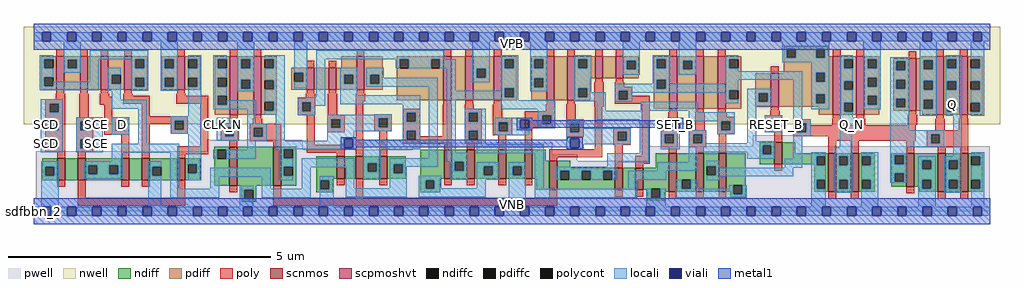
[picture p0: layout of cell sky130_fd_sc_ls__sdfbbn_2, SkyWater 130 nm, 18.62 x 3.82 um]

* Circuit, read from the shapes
.subckt sky130_fd_sc_ls__sdfbbn_2 CLK_N D RESET_B SCD SCE SET_B VGND VNB VPB VPWR Q Q_N
XM1 n1 SCD VGND VNB sky130_fd_pr__nfet_01v8 w=0.42 l=0.15
XM2 n2 SCE n1 VNB sky130_fd_pr__nfet_01v8 w=0.42 l=0.15
XM3 n3 D n2 VNB sky130_fd_pr__nfet_01v8 w=0.42 l=0.15
XM4 VGND n4 n3 VNB sky130_fd_pr__nfet_01v8 w=0.42 l=0.15
XM5 n4 SCE VGND VNB sky130_fd_pr__nfet_01v8 w=0.42 l=0.15
XM6 VGND CLK_N n5 VNB sky130_fd_pr__nfet_01v8 w=0.74 l=0.15
XM7 n6 n5 VGND VNB sky130_fd_pr__nfet_01v8 w=0.74 l=0.15
XM8 n7 n8 VGND VNB sky130_fd_pr__nfet_01v8 w=0.42 l=0.15
XM9 n9 n5 n7 VNB sky130_fd_pr__nfet_01v8 w=0.42 l=0.15
XM10 n2 n6 n9 VNB sky130_fd_pr__nfet_01v8 w=0.42 l=0.15
XM11 n8 n9 n10 VNB sky130_fd_pr__nfet_01v8 w=0.55 l=0.15
XM12 n10 n11 n8 VNB sky130_fd_pr__nfet_01v8 w=0.55 l=0.15
XM13 VGND SET_B n10 VNB sky130_fd_pr__nfet_01v8 w=0.55 l=0.15
XM14 n12 n8 VGND VNB sky130_fd_pr__nfet_01v8 w=0.55 l=0.15
XM15 n13 n5 n12 VNB sky130_fd_pr__nfet_01v8 w=0.55 l=0.15
XM16 n14 n6 n13 VNB sky130_fd_pr__nfet_01v8 w=0.42 l=0.15
XM17 VGND n15 n14 VNB sky130_fd_pr__nfet_01v8 w=0.42 l=0.15
XM18 n16 SET_B VGND VNB sky130_fd_pr__nfet_01v8 w=0.74 l=0.15
XM19 n15 n11 n16 VNB sky130_fd_pr__nfet_01v8 w=0.74 l=0.15
XM20 n16 n13 n15 VNB sky130_fd_pr__nfet_01v8 w=0.74 l=0.15
XM21 VGND RESET_B n11 VNB sky130_fd_pr__nfet_01v8 w=0.42 l=0.15
XM22 Q_N n15 VGND VNB sky130_fd_pr__nfet_01v8 w=0.74 l=0.15 m=2
XM23 VGND n15 n17 VNB sky130_fd_pr__nfet_01v8 w=0.64 l=0.15
XM24 Q n17 VGND VNB sky130_fd_pr__nfet_01v8 w=0.74 l=0.15 m=2
XM25 VPWR SCD n18 VPB sky130_fd_pr__pfet_01v8_hvt w=0.64 l=0.15
XM26 n19 SCE VPWR VPB sky130_fd_pr__pfet_01v8_hvt w=0.64 l=0.15
XM27 n2 D n19 VPB sky130_fd_pr__pfet_01v8_hvt w=0.64 l=0.15
XM28 n18 n4 n2 VPB sky130_fd_pr__pfet_01v8_hvt w=0.64 l=0.15
XM29 n4 SCE VPWR VPB sky130_fd_pr__pfet_01v8_hvt w=0.64 l=0.15
XM30 VPWR CLK_N n5 VPB sky130_fd_pr__pfet_01v8_hvt w=1.12 l=0.15
XM31 n6 n5 VPWR VPB sky130_fd_pr__pfet_01v8_hvt w=1.12 l=0.15
XM32 n20 n8 VPWR VPB sky130_fd_pr__pfet_01v8_hvt w=0.42 l=0.15
XM33 n9 n6 n20 VPB sky130_fd_pr__pfet_01v8_hvt w=0.42 l=0.15
XM34 n2 n5 n9 VPB sky130_fd_pr__pfet_01v8_hvt w=0.64 l=0.15
XM35 n21 n9 n8 VPB sky130_fd_pr__pfet_01v8_hvt w=0.84 l=0.15
XM36 VPWR n11 n21 VPB sky130_fd_pr__pfet_01v8_hvt w=0.84 l=0.15
XM37 n8 SET_B VPWR VPB sky130_fd_pr__pfet_01v8_hvt w=0.84 l=0.15
XM38 n22 n8 VPWR VPB sky130_fd_pr__pfet_01v8_hvt w=0.84 l=0.15
XM39 n13 n6 n22 VPB sky130_fd_pr__pfet_01v8_hvt w=0.84 l=0.15
XM40 n23 n5 n13 VPB sky130_fd_pr__pfet_01v8_hvt w=0.42 l=0.15
XM41 VPWR n15 n23 VPB sky130_fd_pr__pfet_01v8_hvt w=0.42 l=0.15
XM42 VPWR SET_B n15 VPB sky130_fd_pr__pfet_01v8_hvt w=1 l=0.15
XM43 n24 n11 VPWR VPB sky130_fd_pr__pfet_01v8_hvt w=1 l=0.15
XM44 n15 n13 n24 VPB sky130_fd_pr__pfet_01v8_hvt w=1 l=0.15
XM45 VPWR RESET_B n11 VPB sky130_fd_pr__pfet_01v8_hvt w=0.64 l=0.15
XM46 Q_N n15 VPWR VPB sky130_fd_pr__pfet_01v8_hvt w=1.12 l=0.15 m=2
XM47 VPWR n15 n17 VPB sky130_fd_pr__pfet_01v8_hvt w=1 l=0.15
XM48 Q n17 VPWR VPB sky130_fd_pr__pfet_01v8_hvt w=1.12 l=0.15 m=2
.ends

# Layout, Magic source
magic
tech sky130A
magscale 1 2
<< nwell >>
rect -38 332 3686 704
<< pwell >>
rect 662 235 1026 272
rect 1447 235 1978 261
rect 2743 248 2931 290
rect 662 229 1978 235
rect 6 218 1978 229
rect 6 192 2073 218
rect 2346 192 3647 248
rect 6 49 3647 192
rect 0 0 3648 49
<< scnmos >>
rect 89 119 119 203
rect 167 119 197 203
rect 333 119 363 203
rect 411 119 441 203
rect 547 119 577 203
rect 745 98 775 246
rect 913 98 943 246
rect 1155 125 1185 209
rect 1227 125 1257 209
rect 1318 125 1348 209
rect 1565 125 1595 235
rect 1651 125 1681 235
rect 1772 125 1802 235
rect 1872 125 1902 235
rect 1967 82 1997 192
rect 2217 82 2247 166
rect 2295 82 2325 166
rect 2422 74 2452 222
rect 2526 74 2556 222
rect 2612 74 2642 222
rect 2825 180 2855 264
rect 3031 74 3061 222
rect 3117 74 3147 222
rect 3329 94 3359 222
rect 3449 74 3479 222
rect 3535 74 3565 222
<< scpmoshvt >>
rect 86 464 116 592
rect 176 464 206 592
rect 254 464 284 592
rect 344 464 374 592
rect 546 464 576 592
rect 748 368 778 592
rect 838 368 868 592
rect 1040 464 1070 548
rect 1124 464 1154 548
rect 1231 464 1261 592
rect 1562 424 1592 592
rect 1646 424 1676 592
rect 1754 424 1784 592
rect 1956 424 1986 592
rect 2034 424 2064 592
rect 2141 508 2171 592
rect 2219 508 2249 592
rect 2424 392 2454 592
rect 2526 392 2556 592
rect 2610 392 2640 592
rect 2812 399 2842 527
rect 3048 368 3078 592
rect 3138 368 3168 592
rect 3337 384 3367 584
rect 3442 368 3472 592
rect 3532 368 3562 592
<< ndiff >>
rect 688 234 745 246
rect 32 170 89 203
rect 32 136 44 170
rect 78 136 89 170
rect 32 119 89 136
rect 119 119 167 203
rect 197 175 333 203
rect 197 141 208 175
rect 242 141 288 175
rect 322 141 333 175
rect 197 119 333 141
rect 363 119 411 203
rect 441 169 547 203
rect 441 135 452 169
rect 486 135 547 169
rect 441 119 547 135
rect 577 180 634 203
rect 577 146 588 180
rect 622 146 634 180
rect 577 119 634 146
rect 688 200 700 234
rect 734 200 745 234
rect 688 98 745 200
rect 775 98 913 246
rect 943 237 1000 246
rect 943 203 954 237
rect 988 203 1000 237
rect 943 169 1000 203
rect 943 135 954 169
rect 988 135 1000 169
rect 943 98 1000 135
rect 1078 125 1155 209
rect 1185 125 1227 209
rect 1257 184 1318 209
rect 1257 150 1273 184
rect 1307 150 1318 184
rect 1257 125 1318 150
rect 1348 179 1419 209
rect 1348 145 1373 179
rect 1407 145 1419 179
rect 1348 125 1419 145
rect 1473 125 1565 235
rect 1595 189 1651 235
rect 1595 155 1606 189
rect 1640 155 1651 189
rect 1595 125 1651 155
rect 1681 171 1772 235
rect 1681 137 1716 171
rect 1750 137 1772 171
rect 1681 125 1772 137
rect 1802 171 1872 235
rect 1802 137 1827 171
rect 1861 137 1872 171
rect 1802 125 1872 137
rect 1902 192 1952 235
rect 1902 125 1967 192
rect 1078 118 1140 125
rect 790 82 848 98
rect 790 48 802 82
rect 836 48 848 82
rect 790 36 848 48
rect 1078 84 1092 118
rect 1126 84 1140 118
rect 1078 72 1140 84
rect 1473 119 1550 125
rect 1473 85 1494 119
rect 1528 85 1550 119
rect 1473 73 1550 85
rect 1917 82 1967 125
rect 1997 166 2047 192
rect 2769 251 2825 264
rect 2372 166 2422 222
rect 1997 154 2217 166
rect 1997 120 2008 154
rect 2042 120 2090 154
rect 2124 120 2172 154
rect 2206 120 2217 154
rect 1997 82 2217 120
rect 2247 82 2295 166
rect 2325 86 2422 166
rect 2325 82 2356 86
rect 2340 52 2356 82
rect 2390 74 2422 86
rect 2452 120 2526 222
rect 2452 86 2472 120
rect 2506 86 2526 120
rect 2452 74 2526 86
rect 2556 172 2612 222
rect 2556 138 2567 172
rect 2601 138 2612 172
rect 2556 74 2612 138
rect 2642 99 2715 222
rect 2769 217 2780 251
rect 2814 217 2825 251
rect 2769 180 2825 217
rect 2855 222 2905 264
rect 2855 210 3031 222
rect 2855 180 2986 210
rect 2978 176 2986 180
rect 3020 176 3031 210
rect 2642 74 2669 99
rect 2390 52 2407 74
rect 2340 40 2407 52
rect 2657 65 2669 74
rect 2703 65 2715 99
rect 2978 120 3031 176
rect 2978 86 2986 120
rect 3020 86 3031 120
rect 2978 74 3031 86
rect 3061 210 3117 222
rect 3061 176 3072 210
rect 3106 176 3117 210
rect 3061 120 3117 176
rect 3061 86 3072 120
rect 3106 86 3117 120
rect 3061 74 3117 86
rect 3147 210 3209 222
rect 3147 176 3158 210
rect 3192 176 3209 210
rect 3147 120 3209 176
rect 3147 86 3158 120
rect 3192 86 3209 120
rect 3272 214 3329 222
rect 3272 180 3284 214
rect 3318 180 3329 214
rect 3272 146 3329 180
rect 3272 112 3284 146
rect 3318 112 3329 146
rect 3272 94 3329 112
rect 3359 194 3449 222
rect 3359 160 3390 194
rect 3424 160 3449 194
rect 3359 120 3449 160
rect 3359 94 3390 120
rect 3147 74 3209 86
rect 2657 53 2715 65
rect 3378 86 3390 94
rect 3424 86 3449 120
rect 3378 74 3449 86
rect 3479 194 3535 222
rect 3479 160 3490 194
rect 3524 160 3535 194
rect 3479 120 3535 160
rect 3479 86 3490 120
rect 3524 86 3535 120
rect 3479 74 3535 86
rect 3565 210 3621 222
rect 3565 176 3576 210
rect 3610 176 3621 210
rect 3565 120 3621 176
rect 3565 86 3576 120
rect 3610 86 3621 120
rect 3565 74 3621 86
<< pdiff >>
rect 2860 619 3030 631
rect 27 580 86 592
rect 27 546 39 580
rect 73 546 86 580
rect 27 511 86 546
rect 27 477 39 511
rect 73 477 86 511
rect 27 464 86 477
rect 116 579 176 592
rect 116 545 129 579
rect 163 545 176 579
rect 116 464 176 545
rect 206 464 254 592
rect 284 520 344 592
rect 284 486 297 520
rect 331 486 344 520
rect 284 464 344 486
rect 374 580 433 592
rect 374 546 387 580
rect 421 546 433 580
rect 374 510 433 546
rect 374 476 387 510
rect 421 476 433 510
rect 374 464 433 476
rect 487 580 546 592
rect 487 546 499 580
rect 533 546 546 580
rect 487 510 546 546
rect 487 476 499 510
rect 533 476 546 510
rect 487 464 546 476
rect 576 580 635 592
rect 576 546 589 580
rect 623 546 635 580
rect 576 510 635 546
rect 576 476 589 510
rect 623 476 635 510
rect 576 464 635 476
rect 689 580 748 592
rect 689 546 701 580
rect 735 546 748 580
rect 689 510 748 546
rect 689 476 701 510
rect 735 476 748 510
rect 689 440 748 476
rect 689 406 701 440
rect 735 406 748 440
rect 689 368 748 406
rect 778 580 838 592
rect 778 546 791 580
rect 825 546 838 580
rect 778 502 838 546
rect 778 468 791 502
rect 825 468 838 502
rect 778 368 838 468
rect 868 580 927 592
rect 868 546 881 580
rect 915 546 927 580
rect 1172 548 1231 592
rect 868 499 927 546
rect 868 465 881 499
rect 915 465 927 499
rect 868 418 927 465
rect 981 528 1040 548
rect 981 494 993 528
rect 1027 494 1040 528
rect 981 464 1040 494
rect 1070 464 1124 548
rect 1154 520 1231 548
rect 1154 486 1184 520
rect 1218 486 1231 520
rect 1154 464 1231 486
rect 1261 520 1330 592
rect 1261 486 1284 520
rect 1318 486 1330 520
rect 1261 464 1330 486
rect 1384 580 1562 592
rect 1384 546 1396 580
rect 1430 546 1515 580
rect 1549 546 1562 580
rect 868 384 881 418
rect 915 384 927 418
rect 868 368 927 384
rect 1384 424 1562 546
rect 1592 424 1646 592
rect 1676 543 1754 592
rect 1676 509 1689 543
rect 1723 509 1754 543
rect 1676 424 1754 509
rect 1784 580 1843 592
rect 1784 546 1797 580
rect 1831 546 1843 580
rect 1784 470 1843 546
rect 1784 436 1797 470
rect 1831 436 1843 470
rect 1784 424 1843 436
rect 1897 580 1956 592
rect 1897 546 1909 580
rect 1943 546 1956 580
rect 1897 508 1956 546
rect 1897 474 1909 508
rect 1943 474 1956 508
rect 1897 424 1956 474
rect 1986 424 2034 592
rect 2064 580 2141 592
rect 2064 546 2077 580
rect 2111 546 2141 580
rect 2064 508 2141 546
rect 2171 508 2219 592
rect 2249 575 2308 592
rect 2249 541 2262 575
rect 2296 541 2308 575
rect 2249 508 2308 541
rect 2365 580 2424 592
rect 2365 546 2377 580
rect 2411 546 2424 580
rect 2064 470 2123 508
rect 2365 502 2424 546
rect 2064 436 2077 470
rect 2111 436 2123 470
rect 2064 424 2123 436
rect 2365 468 2377 502
rect 2411 468 2424 502
rect 2365 392 2424 468
rect 2454 575 2526 592
rect 2454 541 2477 575
rect 2511 541 2526 575
rect 2454 392 2526 541
rect 2556 392 2610 592
rect 2640 580 2699 592
rect 2640 546 2653 580
rect 2687 546 2699 580
rect 2860 585 2872 619
rect 2906 585 2984 619
rect 3018 592 3030 619
rect 3018 585 3048 592
rect 2640 462 2699 546
rect 2860 529 3048 585
rect 2860 527 2984 529
rect 2640 428 2653 462
rect 2687 428 2699 462
rect 2640 392 2699 428
rect 2753 451 2812 527
rect 2753 417 2765 451
rect 2799 417 2812 451
rect 2753 399 2812 417
rect 2842 495 2984 527
rect 3018 495 3048 529
rect 2842 447 3048 495
rect 2842 413 2984 447
rect 3018 413 3048 447
rect 2842 399 3048 413
rect 2995 368 3048 399
rect 3078 580 3138 592
rect 3078 546 3091 580
rect 3125 546 3138 580
rect 3078 497 3138 546
rect 3078 463 3091 497
rect 3125 463 3138 497
rect 3078 414 3138 463
rect 3078 380 3091 414
rect 3125 380 3138 414
rect 3078 368 3138 380
rect 3168 580 3225 592
rect 3385 584 3442 592
rect 3168 546 3181 580
rect 3215 546 3225 580
rect 3168 510 3225 546
rect 3168 476 3181 510
rect 3215 476 3225 510
rect 3168 440 3225 476
rect 3168 406 3181 440
rect 3215 406 3225 440
rect 3168 368 3225 406
rect 3279 572 3337 584
rect 3279 538 3290 572
rect 3324 538 3337 572
rect 3279 501 3337 538
rect 3279 467 3290 501
rect 3324 467 3337 501
rect 3279 430 3337 467
rect 3279 396 3290 430
rect 3324 396 3337 430
rect 3279 384 3337 396
rect 3367 576 3442 584
rect 3367 542 3395 576
rect 3429 542 3442 576
rect 3367 498 3442 542
rect 3367 464 3395 498
rect 3429 464 3442 498
rect 3367 426 3442 464
rect 3367 392 3395 426
rect 3429 392 3442 426
rect 3367 384 3442 392
rect 3389 368 3442 384
rect 3472 580 3532 592
rect 3472 546 3485 580
rect 3519 546 3532 580
rect 3472 497 3532 546
rect 3472 463 3485 497
rect 3519 463 3532 497
rect 3472 414 3532 463
rect 3472 380 3485 414
rect 3519 380 3532 414
rect 3472 368 3532 380
rect 3562 580 3621 592
rect 3562 546 3575 580
rect 3609 546 3621 580
rect 3562 497 3621 546
rect 3562 463 3575 497
rect 3609 463 3621 497
rect 3562 414 3621 463
rect 3562 380 3575 414
rect 3609 380 3621 414
rect 3562 368 3621 380
<< ndiffc >>
rect 44 136 78 170
rect 208 141 242 175
rect 288 141 322 175
rect 452 135 486 169
rect 588 146 622 180
rect 700 200 734 234
rect 954 203 988 237
rect 954 135 988 169
rect 1273 150 1307 184
rect 1373 145 1407 179
rect 1606 155 1640 189
rect 1716 137 1750 171
rect 1827 137 1861 171
rect 802 48 836 82
rect 1092 84 1126 118
rect 1494 85 1528 119
rect 2008 120 2042 154
rect 2090 120 2124 154
rect 2172 120 2206 154
rect 2356 52 2390 86
rect 2472 86 2506 120
rect 2567 138 2601 172
rect 2780 217 2814 251
rect 2986 176 3020 210
rect 2669 65 2703 99
rect 2986 86 3020 120
rect 3072 176 3106 210
rect 3072 86 3106 120
rect 3158 176 3192 210
rect 3158 86 3192 120
rect 3284 180 3318 214
rect 3284 112 3318 146
rect 3390 160 3424 194
rect 3390 86 3424 120
rect 3490 160 3524 194
rect 3490 86 3524 120
rect 3576 176 3610 210
rect 3576 86 3610 120
<< pdiffc >>
rect 39 546 73 580
rect 39 477 73 511
rect 129 545 163 579
rect 297 486 331 520
rect 387 546 421 580
rect 387 476 421 510
rect 499 546 533 580
rect 499 476 533 510
rect 589 546 623 580
rect 589 476 623 510
rect 701 546 735 580
rect 701 476 735 510
rect 701 406 735 440
rect 791 546 825 580
rect 791 468 825 502
rect 881 546 915 580
rect 881 465 915 499
rect 993 494 1027 528
rect 1184 486 1218 520
rect 1284 486 1318 520
rect 1396 546 1430 580
rect 1515 546 1549 580
rect 881 384 915 418
rect 1689 509 1723 543
rect 1797 546 1831 580
rect 1797 436 1831 470
rect 1909 546 1943 580
rect 1909 474 1943 508
rect 2077 546 2111 580
rect 2262 541 2296 575
rect 2377 546 2411 580
rect 2077 436 2111 470
rect 2377 468 2411 502
rect 2477 541 2511 575
rect 2653 546 2687 580
rect 2872 585 2906 619
rect 2984 585 3018 619
rect 2653 428 2687 462
rect 2765 417 2799 451
rect 2984 495 3018 529
rect 2984 413 3018 447
rect 3091 546 3125 580
rect 3091 463 3125 497
rect 3091 380 3125 414
rect 3181 546 3215 580
rect 3181 476 3215 510
rect 3181 406 3215 440
rect 3290 538 3324 572
rect 3290 467 3324 501
rect 3290 396 3324 430
rect 3395 542 3429 576
rect 3395 464 3429 498
rect 3395 392 3429 426
rect 3485 546 3519 580
rect 3485 463 3519 497
rect 3485 380 3519 414
rect 3575 546 3609 580
rect 3575 463 3609 497
rect 3575 380 3609 414
<< poly >>
rect 86 592 116 618
rect 176 592 206 618
rect 254 592 284 618
rect 344 592 374 618
rect 546 592 576 618
rect 748 592 778 618
rect 838 592 868 618
rect 1231 592 1261 618
rect 1562 592 1592 618
rect 1646 592 1676 618
rect 1754 592 1784 618
rect 1956 592 1986 618
rect 2034 592 2064 618
rect 2141 592 2171 618
rect 2219 592 2249 618
rect 2424 592 2454 618
rect 2526 592 2556 618
rect 2610 592 2640 618
rect 86 449 116 464
rect 176 449 206 464
rect 254 449 284 464
rect 344 449 374 464
rect 546 449 576 464
rect 83 427 119 449
rect 44 411 119 427
rect 44 377 60 411
rect 94 377 119 411
rect 44 343 119 377
rect 173 359 209 449
rect 251 437 287 449
rect 341 440 377 449
rect 543 440 579 449
rect 251 407 299 437
rect 341 410 441 440
rect 543 410 665 440
rect 44 309 60 343
rect 94 309 119 343
rect 44 275 119 309
rect 44 241 60 275
rect 94 241 119 275
rect 44 225 119 241
rect 161 343 227 359
rect 161 309 177 343
rect 211 309 227 343
rect 161 275 227 309
rect 269 358 299 407
rect 411 362 441 410
rect 269 342 363 358
rect 269 308 313 342
rect 347 308 363 342
rect 269 292 363 308
rect 161 241 177 275
rect 211 241 227 275
rect 161 225 227 241
rect 89 203 119 225
rect 167 203 197 225
rect 333 203 363 292
rect 411 346 587 362
rect 411 332 537 346
rect 411 203 441 332
rect 521 312 537 332
rect 571 312 587 346
rect 521 296 587 312
rect 635 248 665 410
rect 1040 548 1070 574
rect 1124 548 1154 574
rect 1040 449 1070 464
rect 1124 449 1154 464
rect 1231 449 1261 464
rect 1037 432 1073 449
rect 1007 416 1073 432
rect 1007 382 1023 416
rect 1057 382 1073 416
rect 748 353 778 368
rect 838 353 868 368
rect 1007 366 1073 382
rect 1121 368 1157 449
rect 1227 419 1264 449
rect 2141 493 2171 508
rect 2219 493 2249 508
rect 745 336 781 353
rect 713 320 781 336
rect 835 334 871 353
rect 713 286 729 320
rect 763 286 781 320
rect 713 270 781 286
rect 823 318 943 334
rect 823 284 839 318
rect 873 284 943 318
rect 547 218 665 248
rect 745 246 775 270
rect 823 268 943 284
rect 913 246 943 268
rect 1041 254 1071 366
rect 1119 352 1185 368
rect 1119 318 1135 352
rect 1169 318 1185 352
rect 1119 302 1185 318
rect 547 203 577 218
rect 89 93 119 119
rect 167 51 197 119
rect 333 93 363 119
rect 411 93 441 119
rect 547 51 577 119
rect 1041 224 1185 254
rect 1155 209 1185 224
rect 1227 209 1257 419
rect 1562 409 1592 424
rect 1646 409 1676 424
rect 1754 409 1784 424
rect 1956 409 1986 424
rect 2034 409 2064 424
rect 1407 375 1473 391
rect 1299 355 1365 371
rect 1299 321 1315 355
rect 1349 321 1365 355
rect 1299 305 1365 321
rect 1407 341 1423 375
rect 1457 341 1473 375
rect 1407 307 1473 341
rect 1318 209 1348 305
rect 1407 273 1423 307
rect 1457 287 1473 307
rect 1559 287 1595 409
rect 1457 273 1595 287
rect 1407 257 1595 273
rect 1643 391 1679 409
rect 1643 375 1709 391
rect 1643 341 1659 375
rect 1693 341 1709 375
rect 1643 307 1709 341
rect 1643 273 1659 307
rect 1693 273 1709 307
rect 1751 356 1787 409
rect 1953 382 1989 409
rect 1872 366 1989 382
rect 1751 340 1824 356
rect 1751 306 1774 340
rect 1808 306 1824 340
rect 1751 290 1824 306
rect 1872 332 1939 366
rect 1973 332 1989 366
rect 1872 316 1989 332
rect 2031 351 2067 409
rect 2138 399 2174 493
rect 2216 476 2252 493
rect 2216 460 2282 476
rect 2216 426 2232 460
rect 2266 440 2282 460
rect 2266 426 2349 440
rect 2216 410 2349 426
rect 2031 335 2097 351
rect 1643 257 1709 273
rect 1565 235 1595 257
rect 1651 235 1681 257
rect 1772 235 1802 290
rect 1872 235 1902 316
rect 2031 301 2047 335
rect 2081 301 2097 335
rect 2031 285 2097 301
rect 2139 237 2169 399
rect 2211 303 2277 319
rect 2211 269 2227 303
rect 2261 269 2277 303
rect 2211 253 2277 269
rect 1967 207 2169 237
rect 1967 192 1997 207
rect 745 72 775 98
rect 167 21 577 51
rect 913 51 943 98
rect 1155 99 1185 125
rect 1227 51 1257 125
rect 1318 99 1348 125
rect 1565 99 1595 125
rect 1651 99 1681 125
rect 1772 99 1802 125
rect 1872 99 1902 125
rect 2217 166 2247 253
rect 2319 211 2349 410
rect 3048 592 3078 618
rect 3138 592 3168 618
rect 2812 527 2842 553
rect 2424 377 2454 392
rect 2526 377 2556 392
rect 2610 377 2640 392
rect 2812 384 2842 399
rect 2421 310 2457 377
rect 2523 310 2559 377
rect 2607 360 2643 377
rect 2809 367 2845 384
rect 3337 584 3367 610
rect 3442 592 3472 618
rect 3532 592 3562 618
rect 3337 369 3367 384
rect 2607 344 2673 360
rect 2607 310 2623 344
rect 2657 310 2673 344
rect 2391 294 2457 310
rect 2391 260 2407 294
rect 2441 260 2457 294
rect 2391 244 2457 260
rect 2499 294 2565 310
rect 2607 294 2673 310
rect 2789 351 2855 367
rect 3048 353 3078 368
rect 3138 353 3168 368
rect 2789 317 2805 351
rect 2839 317 2855 351
rect 2789 301 2855 317
rect 2499 260 2515 294
rect 2549 260 2565 294
rect 2499 244 2565 260
rect 2422 222 2452 244
rect 2526 222 2556 244
rect 2612 222 2642 294
rect 2825 264 2855 301
rect 2897 336 2963 352
rect 2897 302 2913 336
rect 2947 329 2963 336
rect 3045 329 3081 353
rect 3135 329 3171 353
rect 3334 330 3370 369
rect 3442 353 3472 368
rect 3532 353 3562 368
rect 3334 329 3365 330
rect 2947 302 3365 329
rect 3439 310 3475 353
rect 3529 310 3565 353
rect 2897 286 3365 302
rect 3031 270 3365 286
rect 3407 294 3565 310
rect 2295 181 2349 211
rect 2295 166 2325 181
rect 1967 51 1997 82
rect 2217 56 2247 82
rect 2295 56 2325 82
rect 913 21 1997 51
rect 3031 222 3061 270
rect 3117 222 3147 270
rect 3329 222 3359 270
rect 3407 260 3423 294
rect 3457 260 3565 294
rect 3407 244 3565 260
rect 3449 222 3479 244
rect 3535 222 3565 244
rect 2825 154 2855 180
rect 2422 48 2452 74
rect 2526 48 2556 74
rect 2612 48 2642 74
rect 3031 48 3061 74
rect 3117 48 3147 74
rect 3329 68 3359 94
rect 3449 48 3479 74
rect 3535 48 3565 74
<< polycont >>
rect 60 377 94 411
rect 60 309 94 343
rect 60 241 94 275
rect 177 309 211 343
rect 313 308 347 342
rect 177 241 211 275
rect 537 312 571 346
rect 1023 382 1057 416
rect 729 286 763 320
rect 839 284 873 318
rect 1135 318 1169 352
rect 1315 321 1349 355
rect 1423 341 1457 375
rect 1423 273 1457 307
rect 1659 341 1693 375
rect 1659 273 1693 307
rect 1774 306 1808 340
rect 1939 332 1973 366
rect 2232 426 2266 460
rect 2047 301 2081 335
rect 2227 269 2261 303
rect 2623 310 2657 344
rect 2407 260 2441 294
rect 2805 317 2839 351
rect 2515 260 2549 294
rect 2913 302 2947 336
rect 3423 260 3457 294
<< locali >>
rect 0 649 31 683
rect 65 649 127 683
rect 161 649 223 683
rect 257 649 319 683
rect 353 649 415 683
rect 449 649 511 683
rect 545 649 607 683
rect 641 649 703 683
rect 737 649 799 683
rect 833 649 895 683
rect 929 649 991 683
rect 1025 649 1087 683
rect 1121 649 1183 683
rect 1217 649 1279 683
rect 1313 649 1375 683
rect 1409 649 1471 683
rect 1505 649 1567 683
rect 1601 649 1663 683
rect 1697 649 1759 683
rect 1793 649 1855 683
rect 1889 649 1951 683
rect 1985 649 2047 683
rect 2081 649 2143 683
rect 2177 649 2239 683
rect 2273 649 2335 683
rect 2369 649 2431 683
rect 2465 649 2527 683
rect 2561 649 2623 683
rect 2657 649 2719 683
rect 2753 649 2815 683
rect 2849 649 2911 683
rect 2945 649 3007 683
rect 3041 649 3103 683
rect 3137 649 3199 683
rect 3233 649 3295 683
rect 3329 649 3391 683
rect 3425 649 3487 683
rect 3521 649 3583 683
rect 3617 649 3648 683
rect 23 580 73 596
rect 23 546 39 580
rect 23 511 73 546
rect 113 579 179 649
rect 113 545 129 579
rect 163 545 179 579
rect 113 529 179 545
rect 213 581 437 615
rect 23 477 39 511
rect 213 495 247 581
rect 371 580 437 581
rect 73 477 247 495
rect 23 461 247 477
rect 281 520 331 547
rect 281 486 297 520
rect 281 460 331 486
rect 371 546 387 580
rect 421 546 437 580
rect 371 510 437 546
rect 371 476 387 510
rect 421 476 437 510
rect 371 460 437 476
rect 483 580 549 649
rect 483 546 499 580
rect 533 546 549 580
rect 483 510 549 546
rect 483 476 499 510
rect 533 476 549 510
rect 483 460 549 476
rect 589 580 639 596
rect 623 546 639 580
rect 589 510 639 546
rect 623 476 639 510
rect 25 411 110 427
rect 25 377 60 411
rect 94 377 110 411
rect 297 426 331 460
rect 297 392 431 426
rect 25 343 110 377
rect 25 309 60 343
rect 94 309 110 343
rect 25 275 110 309
rect 25 241 60 275
rect 94 241 110 275
rect 25 225 110 241
rect 161 343 263 359
rect 161 309 177 343
rect 211 309 263 343
rect 161 275 263 309
rect 297 342 363 358
rect 297 308 313 342
rect 347 308 363 342
rect 297 292 363 308
rect 161 241 177 275
rect 211 241 263 275
rect 397 258 431 392
rect 589 362 639 476
rect 685 580 735 596
rect 685 546 701 580
rect 685 510 735 546
rect 685 476 701 510
rect 685 440 735 476
rect 775 580 841 649
rect 775 546 791 580
rect 825 546 841 580
rect 775 502 841 546
rect 775 468 791 502
rect 825 468 841 502
rect 775 458 841 468
rect 881 580 957 596
rect 915 546 957 580
rect 881 499 957 546
rect 915 465 957 499
rect 993 528 1043 649
rect 1027 494 1043 528
rect 993 470 1043 494
rect 1077 581 1565 615
rect 685 406 701 440
rect 735 406 847 424
rect 685 390 847 406
rect 521 346 639 362
rect 521 312 537 346
rect 571 312 639 346
rect 521 296 639 312
rect 161 225 263 241
rect 297 224 554 258
rect 297 191 338 224
rect 28 170 94 191
rect 28 136 44 170
rect 78 136 94 170
rect 28 17 94 136
rect 192 175 338 191
rect 192 141 208 175
rect 242 141 288 175
rect 322 141 338 175
rect 192 125 338 141
rect 436 169 486 190
rect 436 135 452 169
rect 436 17 486 135
rect 520 85 554 224
rect 588 180 639 296
rect 697 320 779 356
rect 697 286 729 320
rect 763 286 779 320
rect 697 270 779 286
rect 813 334 847 390
rect 881 418 957 465
rect 1077 436 1111 581
rect 1380 580 1565 581
rect 915 384 957 418
rect 881 368 957 384
rect 813 318 889 334
rect 813 284 839 318
rect 873 284 889 318
rect 813 268 889 284
rect 923 270 957 368
rect 1007 416 1111 436
rect 1007 382 1023 416
rect 1057 402 1111 416
rect 1168 520 1234 547
rect 1168 486 1184 520
rect 1218 486 1234 520
rect 1168 442 1234 486
rect 1268 520 1334 547
rect 1380 546 1396 580
rect 1430 546 1515 580
rect 1549 546 1609 580
rect 1268 486 1284 520
rect 1318 510 1334 520
rect 1318 486 1541 510
rect 1268 476 1541 486
rect 1168 408 1473 442
rect 1057 382 1073 402
rect 1007 366 1073 382
rect 1407 375 1473 408
rect 1299 368 1365 371
rect 1119 355 1365 368
rect 1119 352 1315 355
rect 1119 318 1135 352
rect 1169 321 1315 352
rect 1349 321 1365 355
rect 1169 318 1365 321
rect 1119 305 1365 318
rect 1407 341 1423 375
rect 1457 341 1473 375
rect 1407 307 1473 341
rect 1119 276 1223 305
rect 1119 270 1183 276
rect 813 234 847 268
rect 923 242 1183 270
rect 1217 242 1223 276
rect 1407 273 1423 307
rect 1457 273 1473 307
rect 1407 271 1473 273
rect 923 237 1223 242
rect 923 236 954 237
rect 684 200 700 234
rect 734 200 847 234
rect 938 203 954 236
rect 988 236 1223 237
rect 1257 237 1473 271
rect 622 146 639 180
rect 938 169 988 203
rect 588 119 639 146
rect 673 132 904 166
rect 673 85 707 132
rect 520 51 707 85
rect 786 82 836 98
rect 786 48 802 82
rect 870 85 904 132
rect 938 135 954 169
rect 938 119 988 135
rect 1022 168 1223 202
rect 1022 85 1056 168
rect 870 51 1056 85
rect 1090 118 1144 134
rect 1090 84 1092 118
rect 1126 84 1144 118
rect 786 17 836 48
rect 1090 17 1144 84
rect 1189 87 1223 168
rect 1257 184 1323 237
rect 1507 203 1541 476
rect 1257 150 1273 184
rect 1307 150 1323 184
rect 1257 121 1323 150
rect 1357 179 1541 203
rect 1575 459 1609 546
rect 1673 543 1739 649
rect 1673 509 1689 543
rect 1723 509 1739 543
rect 1673 493 1739 509
rect 1781 580 1847 596
rect 1781 546 1797 580
rect 1831 546 1847 580
rect 1781 470 1847 546
rect 1781 459 1797 470
rect 1575 436 1797 459
rect 1831 436 1847 470
rect 1893 580 1959 649
rect 1893 546 1909 580
rect 1943 546 1959 580
rect 1893 508 1959 546
rect 1893 474 1909 508
rect 1943 474 1959 508
rect 1893 458 1959 474
rect 2061 580 2127 596
rect 2061 546 2077 580
rect 2111 546 2127 580
rect 2061 470 2127 546
rect 2246 575 2312 649
rect 2246 541 2262 575
rect 2296 541 2312 575
rect 2246 520 2312 541
rect 2361 580 2427 596
rect 2361 546 2377 580
rect 2411 546 2427 580
rect 2361 502 2427 546
rect 2461 575 2527 649
rect 2856 619 3034 649
rect 2461 541 2477 575
rect 2511 541 2527 575
rect 2461 520 2527 541
rect 2637 580 2687 596
rect 2637 546 2653 580
rect 2856 585 2872 619
rect 2906 585 2984 619
rect 3018 585 3034 619
rect 2856 569 3034 585
rect 2637 535 2687 546
rect 2361 486 2377 502
rect 1575 425 1847 436
rect 1575 223 1609 425
rect 1781 424 1847 425
rect 2061 436 2077 470
rect 2111 454 2127 470
rect 2216 468 2377 486
rect 2411 486 2427 502
rect 2637 501 2931 535
rect 2637 486 2687 501
rect 2411 468 2687 486
rect 2216 462 2687 468
rect 2216 460 2653 462
rect 2111 436 2182 454
rect 1643 375 1724 391
rect 1781 390 1989 424
rect 2061 420 2182 436
rect 1643 341 1659 375
rect 1693 341 1724 375
rect 1923 366 1989 390
rect 1643 307 1724 341
rect 1643 273 1659 307
rect 1693 273 1724 307
rect 1758 350 1889 356
rect 1758 340 1855 350
rect 1758 306 1774 340
rect 1808 316 1855 340
rect 1923 332 1939 366
rect 1973 332 1989 366
rect 2148 384 2182 420
rect 2216 426 2232 460
rect 2266 452 2653 460
rect 2266 426 2282 452
rect 2216 418 2282 426
rect 2637 428 2653 452
rect 2316 384 2533 418
rect 2637 412 2687 428
rect 2721 451 2815 467
rect 2721 417 2765 451
rect 2799 417 2815 451
rect 1923 316 1989 332
rect 2031 335 2097 351
rect 2148 350 2350 384
rect 2499 378 2533 384
rect 2721 401 2815 417
rect 1808 306 1889 316
rect 1758 290 1889 306
rect 2031 301 2047 335
rect 2081 316 2097 335
rect 2081 303 2277 316
rect 2081 301 2227 303
rect 1643 257 1724 273
rect 1690 256 1724 257
rect 2031 276 2227 301
rect 1575 189 1656 223
rect 1690 222 1945 256
rect 2031 242 2047 276
rect 2081 269 2227 276
rect 2261 269 2277 303
rect 2081 256 2277 269
rect 2081 242 2097 256
rect 2031 236 2097 242
rect 2311 222 2345 350
rect 2391 316 2431 350
rect 2499 344 2673 378
rect 2391 294 2465 316
rect 2607 310 2623 344
rect 2657 310 2673 344
rect 2391 260 2407 294
rect 2441 260 2465 294
rect 2391 236 2465 260
rect 2499 294 2565 310
rect 2607 294 2673 310
rect 2499 260 2515 294
rect 2549 260 2565 294
rect 2721 267 2755 401
rect 2789 351 2855 367
rect 2789 317 2805 351
rect 2839 317 2855 351
rect 2789 301 2855 317
rect 2897 352 2931 501
rect 2965 529 3034 569
rect 2965 495 2984 529
rect 3018 495 3034 529
rect 2965 447 3034 495
rect 2965 413 2984 447
rect 3018 413 3034 447
rect 2965 390 3034 413
rect 3075 580 3125 596
rect 3075 546 3091 580
rect 3075 497 3125 546
rect 3075 463 3091 497
rect 3075 414 3125 463
rect 3075 380 3091 414
rect 3165 580 3231 649
rect 3165 546 3181 580
rect 3215 546 3231 580
rect 3165 510 3231 546
rect 3165 476 3181 510
rect 3215 476 3231 510
rect 3165 440 3231 476
rect 3165 406 3181 440
rect 3215 406 3231 440
rect 3165 390 3231 406
rect 3268 572 3340 588
rect 3268 538 3290 572
rect 3324 538 3340 572
rect 3268 501 3340 538
rect 3268 467 3290 501
rect 3324 467 3340 501
rect 3268 430 3340 467
rect 3268 396 3290 430
rect 3324 396 3340 430
rect 3075 356 3125 380
rect 2897 336 2963 352
rect 2897 302 2913 336
rect 2947 302 2963 336
rect 2897 286 2963 302
rect 3075 310 3143 356
rect 3268 310 3340 396
rect 3379 576 3445 649
rect 3379 542 3395 576
rect 3429 542 3445 576
rect 3379 498 3445 542
rect 3379 464 3395 498
rect 3429 464 3445 498
rect 3379 426 3445 464
rect 3379 392 3395 426
rect 3429 392 3445 426
rect 3379 364 3445 392
rect 3479 580 3541 596
rect 3479 546 3485 580
rect 3519 546 3541 580
rect 3479 497 3541 546
rect 3479 463 3485 497
rect 3519 463 3541 497
rect 3479 414 3541 463
rect 3479 380 3485 414
rect 3519 380 3541 414
rect 3479 364 3541 380
rect 3575 580 3625 649
rect 3609 546 3625 580
rect 3575 497 3625 546
rect 3609 463 3625 497
rect 3575 414 3625 463
rect 3609 380 3625 414
rect 3575 364 3625 380
rect 2721 260 2830 267
rect 2499 251 2830 260
rect 1357 145 1373 179
rect 1407 169 1541 179
rect 1407 145 1423 169
rect 1357 87 1423 145
rect 1590 155 1606 189
rect 1640 155 1656 189
rect 1189 53 1423 87
rect 1469 119 1554 135
rect 1590 121 1656 155
rect 1690 171 1777 187
rect 1690 137 1716 171
rect 1750 137 1777 171
rect 1690 121 1777 137
rect 1811 171 1877 188
rect 1811 137 1827 171
rect 1861 137 1877 171
rect 1469 85 1494 119
rect 1528 87 1554 119
rect 1690 87 1724 121
rect 1528 85 1724 87
rect 1469 53 1724 85
rect 1811 17 1877 137
rect 1911 86 1945 222
rect 2188 188 2345 222
rect 2499 226 2780 251
rect 2499 188 2533 226
rect 2721 217 2780 226
rect 2814 217 2830 251
rect 2721 201 2830 217
rect 2897 201 2931 286
rect 3075 244 3122 310
rect 2188 170 2222 188
rect 1992 154 2222 170
rect 2379 154 2533 188
rect 2567 172 2617 192
rect 1992 120 2008 154
rect 2042 120 2090 154
rect 2124 120 2172 154
rect 2206 120 2222 154
rect 2268 120 2413 154
rect 2601 167 2617 172
rect 2864 167 2931 201
rect 2965 210 3022 226
rect 2965 176 2986 210
rect 3020 176 3022 210
rect 2601 138 2898 167
rect 2567 133 2898 138
rect 2268 86 2302 120
rect 2447 86 2472 120
rect 2506 86 2531 120
rect 2567 119 2617 133
rect 2965 120 3022 176
rect 1911 52 2302 86
rect 2336 52 2356 86
rect 2390 52 2411 86
rect 2336 17 2411 52
rect 2447 85 2531 86
rect 2653 85 2669 99
rect 2447 65 2669 85
rect 2703 65 2719 99
rect 2447 51 2719 65
rect 2965 86 2986 120
rect 3020 86 3022 120
rect 2965 17 3022 86
rect 3056 210 3122 244
rect 3268 294 3473 310
rect 3268 260 3423 294
rect 3457 260 3473 294
rect 3268 244 3473 260
rect 3056 176 3072 210
rect 3106 176 3122 210
rect 3056 120 3122 176
rect 3056 86 3072 120
rect 3106 86 3122 120
rect 3056 70 3122 86
rect 3156 210 3222 226
rect 3156 176 3158 210
rect 3192 176 3222 210
rect 3156 120 3222 176
rect 3156 86 3158 120
rect 3192 86 3222 120
rect 3268 214 3334 244
rect 3268 180 3284 214
rect 3318 180 3334 214
rect 3507 210 3541 364
rect 3268 146 3334 180
rect 3268 112 3284 146
rect 3318 112 3334 146
rect 3268 108 3334 112
rect 3374 194 3440 210
rect 3374 160 3390 194
rect 3424 160 3440 194
rect 3374 120 3440 160
rect 3156 17 3222 86
rect 3374 86 3390 120
rect 3424 86 3440 120
rect 3374 17 3440 86
rect 3474 194 3541 210
rect 3474 160 3490 194
rect 3524 160 3541 194
rect 3474 120 3541 160
rect 3474 86 3490 120
rect 3524 86 3541 120
rect 3474 70 3541 86
rect 3576 210 3626 226
rect 3610 176 3626 210
rect 3576 120 3626 176
rect 3610 86 3626 120
rect 3576 17 3626 86
rect 0 -17 31 17
rect 65 -17 127 17
rect 161 -17 223 17
rect 257 -17 319 17
rect 353 -17 415 17
rect 449 -17 511 17
rect 545 -17 607 17
rect 641 -17 703 17
rect 737 -17 799 17
rect 833 -17 895 17
rect 929 -17 991 17
rect 1025 -17 1087 17
rect 1121 -17 1183 17
rect 1217 -17 1279 17
rect 1313 -17 1375 17
rect 1409 -17 1471 17
rect 1505 -17 1567 17
rect 1601 -17 1663 17
rect 1697 -17 1759 17
rect 1793 -17 1855 17
rect 1889 -17 1951 17
rect 1985 -17 2047 17
rect 2081 -17 2143 17
rect 2177 -17 2239 17
rect 2273 -17 2335 17
rect 2369 -17 2431 17
rect 2465 -17 2527 17
rect 2561 -17 2623 17
rect 2657 -17 2719 17
rect 2753 -17 2815 17
rect 2849 -17 2911 17
rect 2945 -17 3007 17
rect 3041 -17 3103 17
rect 3137 -17 3199 17
rect 3233 -17 3295 17
rect 3329 -17 3391 17
rect 3425 -17 3487 17
rect 3521 -17 3583 17
rect 3617 -17 3648 17
<< viali >>
rect 31 649 65 683
rect 127 649 161 683
rect 223 649 257 683
rect 319 649 353 683
rect 415 649 449 683
rect 511 649 545 683
rect 607 649 641 683
rect 703 649 737 683
rect 799 649 833 683
rect 895 649 929 683
rect 991 649 1025 683
rect 1087 649 1121 683
rect 1183 649 1217 683
rect 1279 649 1313 683
rect 1375 649 1409 683
rect 1471 649 1505 683
rect 1567 649 1601 683
rect 1663 649 1697 683
rect 1759 649 1793 683
rect 1855 649 1889 683
rect 1951 649 1985 683
rect 2047 649 2081 683
rect 2143 649 2177 683
rect 2239 649 2273 683
rect 2335 649 2369 683
rect 2431 649 2465 683
rect 2527 649 2561 683
rect 2623 649 2657 683
rect 2719 649 2753 683
rect 2815 649 2849 683
rect 2911 649 2945 683
rect 3007 649 3041 683
rect 3103 649 3137 683
rect 3199 649 3233 683
rect 3295 649 3329 683
rect 3391 649 3425 683
rect 3487 649 3521 683
rect 3583 649 3617 683
rect 1183 242 1217 276
rect 1855 316 1889 350
rect 2047 242 2081 276
rect 2431 316 2465 350
rect 31 -17 65 17
rect 127 -17 161 17
rect 223 -17 257 17
rect 319 -17 353 17
rect 415 -17 449 17
rect 511 -17 545 17
rect 607 -17 641 17
rect 703 -17 737 17
rect 799 -17 833 17
rect 895 -17 929 17
rect 991 -17 1025 17
rect 1087 -17 1121 17
rect 1183 -17 1217 17
rect 1279 -17 1313 17
rect 1375 -17 1409 17
rect 1471 -17 1505 17
rect 1567 -17 1601 17
rect 1663 -17 1697 17
rect 1759 -17 1793 17
rect 1855 -17 1889 17
rect 1951 -17 1985 17
rect 2047 -17 2081 17
rect 2143 -17 2177 17
rect 2239 -17 2273 17
rect 2335 -17 2369 17
rect 2431 -17 2465 17
rect 2527 -17 2561 17
rect 2623 -17 2657 17
rect 2719 -17 2753 17
rect 2815 -17 2849 17
rect 2911 -17 2945 17
rect 3007 -17 3041 17
rect 3103 -17 3137 17
rect 3199 -17 3233 17
rect 3295 -17 3329 17
rect 3391 -17 3425 17
rect 3487 -17 3521 17
rect 3583 -17 3617 17
<< metal1 >>
rect 0 683 3648 715
rect 0 649 31 683
rect 65 649 127 683
rect 161 649 223 683
rect 257 649 319 683
rect 353 649 415 683
rect 449 649 511 683
rect 545 649 607 683
rect 641 649 703 683
rect 737 649 799 683
rect 833 649 895 683
rect 929 649 991 683
rect 1025 649 1087 683
rect 1121 649 1183 683
rect 1217 649 1279 683
rect 1313 649 1375 683
rect 1409 649 1471 683
rect 1505 649 1567 683
rect 1601 649 1663 683
rect 1697 649 1759 683
rect 1793 649 1855 683
rect 1889 649 1951 683
rect 1985 649 2047 683
rect 2081 649 2143 683
rect 2177 649 2239 683
rect 2273 649 2335 683
rect 2369 649 2431 683
rect 2465 649 2527 683
rect 2561 649 2623 683
rect 2657 649 2719 683
rect 2753 649 2815 683
rect 2849 649 2911 683
rect 2945 649 3007 683
rect 3041 649 3103 683
rect 3137 649 3199 683
rect 3233 649 3295 683
rect 3329 649 3391 683
rect 3425 649 3487 683
rect 3521 649 3583 683
rect 3617 649 3648 683
rect 0 617 3648 649
rect 1843 350 1901 356
rect 1843 316 1855 350
rect 1889 347 1901 350
rect 2419 350 2477 356
rect 2419 347 2431 350
rect 1889 319 2431 347
rect 1889 316 1901 319
rect 1843 310 1901 316
rect 2419 316 2431 319
rect 2465 316 2477 350
rect 2419 310 2477 316
rect 1171 276 1229 282
rect 1171 242 1183 276
rect 1217 273 1229 276
rect 2035 276 2093 282
rect 2035 273 2047 276
rect 1217 245 2047 273
rect 1217 242 1229 245
rect 1171 236 1229 242
rect 2035 242 2047 245
rect 2081 242 2093 276
rect 2035 236 2093 242
rect 0 17 3648 49
rect 0 -17 31 17
rect 65 -17 127 17
rect 161 -17 223 17
rect 257 -17 319 17
rect 353 -17 415 17
rect 449 -17 511 17
rect 545 -17 607 17
rect 641 -17 703 17
rect 737 -17 799 17
rect 833 -17 895 17
rect 929 -17 991 17
rect 1025 -17 1087 17
rect 1121 -17 1183 17
rect 1217 -17 1279 17
rect 1313 -17 1375 17
rect 1409 -17 1471 17
rect 1505 -17 1567 17
rect 1601 -17 1663 17
rect 1697 -17 1759 17
rect 1793 -17 1855 17
rect 1889 -17 1951 17
rect 1985 -17 2047 17
rect 2081 -17 2143 17
rect 2177 -17 2239 17
rect 2273 -17 2335 17
rect 2369 -17 2431 17
rect 2465 -17 2527 17
rect 2561 -17 2623 17
rect 2657 -17 2719 17
rect 2753 -17 2815 17
rect 2849 -17 2911 17
rect 2945 -17 3007 17
rect 3041 -17 3103 17
rect 3137 -17 3199 17
rect 3233 -17 3295 17
rect 3329 -17 3391 17
rect 3425 -17 3487 17
rect 3521 -17 3583 17
rect 3617 -17 3648 17
rect 0 -49 3648 -17
<< labels >>
rlabel comment s 0 0 0 0 4 sdfbbn_2
flabel pwell s 0 0 3648 49 0 FreeSans 200 0 0 0 VNB
port 8 nsew ground bidirectional
flabel nwell s 0 617 3648 666 0 FreeSans 200 0 0 0 VPB
port 9 nsew power bidirectional
flabel metal1 s 2431 316 2465 350 0 FreeSans 340 0 0 0 SET_B
port 6 nsew signal input
flabel metal1 s 0 617 3648 666 0 FreeSans 340 0 0 0 VPWR
port 10 nsew power bidirectional abutment
flabel metal1 s 0 0 3648 49 0 FreeSans 340 0 0 0 VGND
port 7 nsew ground bidirectional abutment
flabel locali s 31 242 65 276 0 FreeSans 340 0 0 0 SCD
port 4 nsew signal input
flabel locali s 31 316 65 350 0 FreeSans 340 0 0 0 SCD
port 4 nsew signal input
flabel locali s 223 242 257 276 0 FreeSans 340 0 0 0 SCE
port 5 nsew signal input
flabel locali s 223 316 257 350 0 FreeSans 340 0 0 0 SCE
port 5 nsew signal input
flabel locali s 319 316 353 350 0 FreeSans 340 0 0 0 D
port 2 nsew signal input
flabel locali s 703 316 737 350 0 FreeSans 340 0 0 0 CLK_N
port 1 nsew clock input
flabel locali s 3103 316 3137 350 0 FreeSans 340 0 0 0 Q_N
port 12 nsew signal output
flabel locali s 3487 390 3521 424 0 FreeSans 340 0 0 0 Q
port 11 nsew signal output
flabel locali s 2815 316 2849 350 0 FreeSans 340 0 0 0 RESET_B
port 3 nsew signal input
<< properties >>
string LEFsite unit
string LEFclass CORE
string FIXED_BBOX 0 0 3648 666
string GDS_FILE $PDKPATH/libs.ref/sky130_fd_sc_ls/gds/sky130_fd_sc_ls.gds
string LEFsymmetry X Y
string GDS_END 2377220
string GDS_START 2351170
<< end >>
